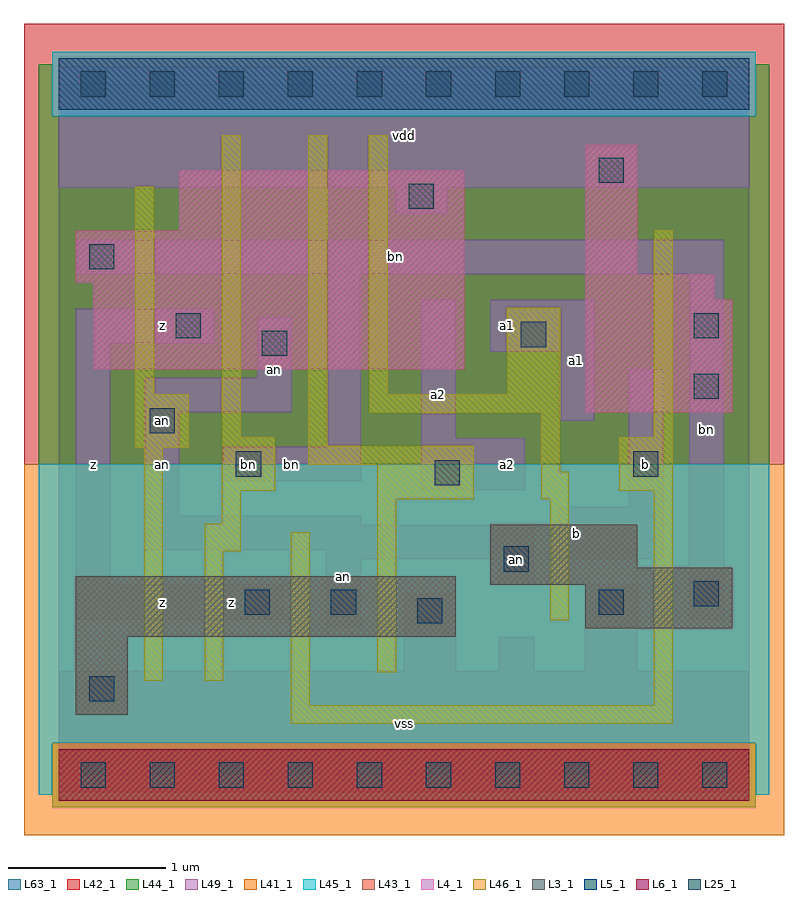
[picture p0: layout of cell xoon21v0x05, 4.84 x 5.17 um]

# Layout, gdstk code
import gdstk
lib = gdstk.Library(unit=1e-6, precision=1e-09)
def R(c, l, rs):  # rectangles x0, y0, x1, y1
    for r in rs: c.add(gdstk.rectangle(r[:2], r[2:], *l))
def A(c, l, x, y, w, h, nx, ny, dx, dy):  # array of equal rectangles
    R(c, l, [(x+i*dx, y+j*dy, x+i*dx+w, y+j*dy+h) for i in range(nx) for j in range(ny)])
L3_1 = (3, 1)
L4_1 = (4, 1)
L5_1 = (5, 1)
L6_1 = (6, 1)
L25_1 = (25, 1)
L41_1 = (41, 1)
L42_1 = (42, 1)
L43_1 = (43, 1)
L44_1 = (44, 1)
L45_1 = (45, 1)
L46_1 = (46, 1)
L49_1 = (49, 1)
L63_1 = (63, 1)

xoon21v0x05 = lib.new_cell('xoon21v0x05')
R(xoon21v0x05, L3_1, [(0.11,0.385,0.44,0.88), (0.11,0.88,2.53,1.265), (3.355,0.935,4.29,1.21), (2.75,1.21,4.29,1.32), (2.75,1.32,3.685,1.595)])
R(xoon21v0x05, L4_1, [(3.355,2.31,4.29,3.025), (0.22,2.585,2.585,3.135), (3.355,3.025,4.18,3.19), (0.11,3.135,2.585,3.465), (3.355,3.19,3.685,4.015), (0.77,3.465,2.585,3.85)])
R(xoon21v0x05, L5_1, [(0,4.235,4.4,4.565)])
R(xoon21v0x05, L6_1, [(0,-0.165,4.4,0.165)])
A(xoon21v0x05, L25_1, 0.14, -0.08, 0.16, 0.16, 10, 2, 0.44, 4.4)
R(xoon21v0x05, L25_1, [(0.195,0.47,0.355,0.63), (2.285,0.965,2.445,1.125), (1.185,1.02,1.345,1.18), (1.735,1.02,1.895,1.18), (3.44,1.02,3.6,1.18), (4.045,1.075,4.205,1.235), (2.835,1.295,2.995,1.455), (2.395,1.845,2.555,2.005), (1.13,1.9,1.29,2.06), (3.66,1.9,3.82,2.06), (0.58,2.175,0.74,2.335), (4.045,2.395,4.205,2.555), (1.295,2.67,1.455,2.83), (2.945,2.725,3.105,2.885), (0.745,2.78,0.905,2.94), (4.045,2.78,4.205,2.94), (0.195,3.22,0.355,3.38), (2.23,3.605,2.39,3.765), (3.44,3.77,3.6,3.93)])
R(xoon21v0x05, L41_1, [(-0.22,-0.385,4.62,1.98)])
R(xoon21v0x05, L42_1, [(-0.22,1.98,4.62,4.785)])
R(xoon21v0x05, L43_1, [(0,-0.165,4.4,0.165), (0.11,0.385,0.44,0.88), (0.11,0.88,2.53,1.265), (3.355,0.935,4.29,1.21), (2.75,1.21,4.29,1.32), (2.75,1.32,3.685,1.595), (3.355,2.31,4.29,3.025), (0.22,2.585,2.585,3.135), (3.355,3.025,4.18,3.19), (0.11,3.135,2.585,3.465), (3.355,3.19,3.685,4.015), (0.77,3.465,2.585,3.85), (0,4.235,4.4,4.565)])
R(xoon21v0x05, L44_1, [(-0.04,-0.205,4.44,0.205), (-0.125,1.98,4.525,4.195), (-0.125,4.195,-0.04,4.525), (4.44,4.195,4.525,4.525)])
R(xoon21v0x05, L45_1, [(-0.125,-0.125,-0.04,0.205), (4.44,-0.125,4.525,0.205), (-0.125,0.205,4.525,1.98), (-0.04,4.195,4.44,4.605)])
R(xoon21v0x05, L46_1, [(1.48,0.325,3.91,0.445), (1.48,0.445,1.6,1.545), (3.79,0.445,3.91,1.81), (0.545,0.6,0.665,2.085), (0.93,0.6,1.05,1.425), (2.03,0.655,2.15,1.755), (3.13,0.985,3.25,1.755), (0.93,1.425,1.16,1.6), (1.04,1.6,1.16,1.81), (2.03,1.755,2.645,1.975), (3.075,1.755,3.25,1.93), (1.04,1.81,1.38,2.15), (3.57,1.81,3.91,2.15), (3.075,1.93,3.195,2.305), (1.59,1.975,2.645,2.095), (0.49,2.085,0.83,2.425), (1.59,2.095,1.71,4.075), (1.04,2.15,1.16,4.075), (3.79,2.15,3.91,3.47), (1.975,2.305,3.195,2.425), (0.49,2.425,0.61,3.745), (1.975,2.425,2.095,4.075), (2.855,2.425,3.195,2.975)])
R(xoon21v0x05, L49_1, [(0,-0.11,4.4,0.66), (2.2,0.66,2.53,1.155), (2.805,0.66,3.025,0.88), (3.355,0.66,3.685,1.21), (1.705,0.935,1.925,1.375), (0.11,0.99,1.43,1.21), (4.015,0.99,4.235,3.19), (0.11,1.21,0.33,2.75), (2.805,1.21,3.025,1.375), (1.705,1.375,3.025,1.43), (3.19,1.375,3.85,1.705), (0.55,1.43,3.025,1.595), (0.55,1.595,1.925,1.65), (0.55,1.65,0.77,2.31), (3.63,1.705,3.85,2.585), (2.31,1.815,2.97,2.145), (1.045,1.87,1.925,2.09), (1.705,2.09,1.925,3.19), (2.31,2.145,2.53,3.025), (3.19,2.255,3.41,2.695), (0.55,2.31,1.485,2.53), (1.265,2.53,1.485,2.915), (2.75,2.695,3.41,3.025), (0.11,2.75,0.99,2.97), (0.11,3.19,4.235,3.41), (2.145,3.575,2.475,3.74), (0,3.74,4.4,4.51)])
R(xoon21v0x05, L63_1, [(0,0,4.4,4.4)])
xoon21v0x05.add(gdstk.Label('an', (0.66,2.255), layer=49, texttype=1))
xoon21v0x05.add(gdstk.Label('bn', (1.21,1.98), layer=49, texttype=1))
xoon21v0x05.add(gdstk.Label('z', (0.22,1.98), layer=49, texttype=1))
xoon21v0x05.add(gdstk.Label('z', (0.66,1.1), layer=49, texttype=1))
xoon21v0x05.add(gdstk.Label('z', (1.1,1.1), layer=49, texttype=1))
xoon21v0x05.add(gdstk.Label('an', (0.66,1.98), layer=49, texttype=1))
xoon21v0x05.add(gdstk.Label('an', (1.375,2.585), layer=49, texttype=1))
xoon21v0x05.add(gdstk.Label('z', (0.66,2.86), layer=49, texttype=1))
xoon21v0x05.add(gdstk.Label('vss', (2.2,0.33), layer=49, texttype=1))
xoon21v0x05.add(gdstk.Label('an', (1.815,1.265), layer=49, texttype=1))
xoon21v0x05.add(gdstk.Label('bn', (1.485,1.98), layer=49, texttype=1))
xoon21v0x05.add(gdstk.Label('a2', (2.42,2.42), layer=49, texttype=1))
xoon21v0x05.add(gdstk.Label('vdd', (2.2,4.07), layer=49, texttype=1))
xoon21v0x05.add(gdstk.Label('an', (2.915,1.375), layer=49, texttype=1))
xoon21v0x05.add(gdstk.Label('b', (3.3,1.54), layer=49, texttype=1))
xoon21v0x05.add(gdstk.Label('a2', (2.86,1.98), layer=49, texttype=1))
xoon21v0x05.add(gdstk.Label('a1', (3.3,2.64), layer=49, texttype=1))
xoon21v0x05.add(gdstk.Label('a1', (2.86,2.86), layer=49, texttype=1))
xoon21v0x05.add(gdstk.Label('b', (3.74,1.98), layer=49, texttype=1))
xoon21v0x05.add(gdstk.Label('bn', (4.125,2.2), layer=49, texttype=1))
xoon21v0x05.add(gdstk.Label('bn', (2.145,3.3), layer=49, texttype=1))

lib.write_gds('xoon21v0x05.gds')
